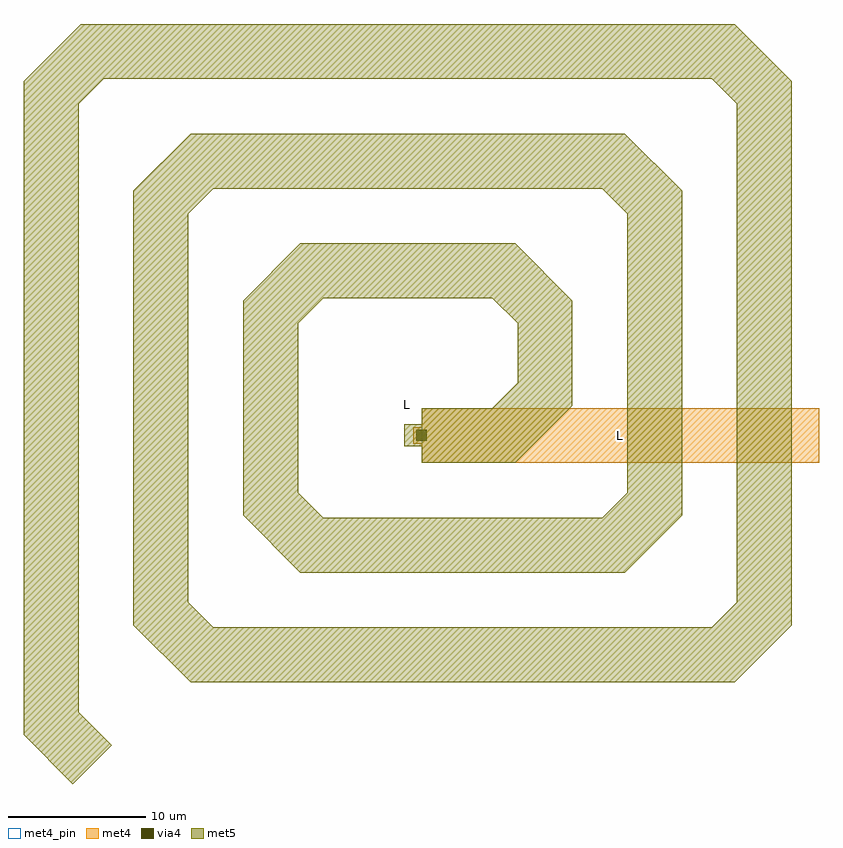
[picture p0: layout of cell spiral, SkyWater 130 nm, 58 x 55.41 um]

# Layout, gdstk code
import gdstk
lib = gdstk.Library(unit=1e-6, precision=1e-09)
def R(c, l, rs):  # rectangles x0, y0, x1, y1
    for r in rs: c.add(gdstk.rectangle(r[:2], r[2:], *l))
def P(c, l, *ps):  # polygons
    for p in ps: c.add(gdstk.Polygon(p, *l))
met4_pin = (71, 16)
met4 = (71, 20)
via4 = (71, 44)
met5 = (72, 20)

spiral = lib.new_cell('spiral')
R(spiral, met4_pin, [(0,-2,29,2)])
R(spiral, met4, [(0,-2,29,2), (-0.59,-0.59,0.59,0.59)])
R(spiral, via4, [(-0.4,-0.4,0.4,0.4)])
R(spiral, met5, [(-1.25,-0.8,1.25,0.8)])
P(spiral, met5, [(-25.415,-25.415),(-29,-21.83),(-29,25.83),(-24.83,30),(22.83,30),(27,25.83),(27,-13.83),(22.83,-18),(-16.83,-18),(-21,-13.83),(-21,17.83),(-16.83,22),(14.83,22),(19,17.83),(19,-5.83),(14.83,-10),(-8.83,-10),(-13,-5.83),(-13,9.83),(-8.83,14),(6.83,14),(11,9.83),(11,2.17),(6.83,-2),(0,-2),(0,2),(5.17,2),(7,3.83),(7,8.17),(5.17,10),(-7.17,10),(-9,8.17),(-9,-4.17),(-7.17,-6),(13.17,-6),(15,-4.17),(15,16.17),(13.17,18),(-15.17,18),(-17,16.17),(-17,-12.17),(-15.17,-14),(21.17,-14),(23,-12.17),(23,24.17),(21.17,26),(-23.17,26),(-25,24.17),(-25,-20.17),(-22.585,-22.585)])
spiral.add(gdstk.Label('L', (14.5,0), layer=71, texttype=16))
spiral.add(gdstk.Label('L', (14.5,0), layer=71, texttype=5))
spiral.add(gdstk.Label('L', (-1,2.29), layer=72, texttype=5))

lib.write_gds('spiral.gds')
